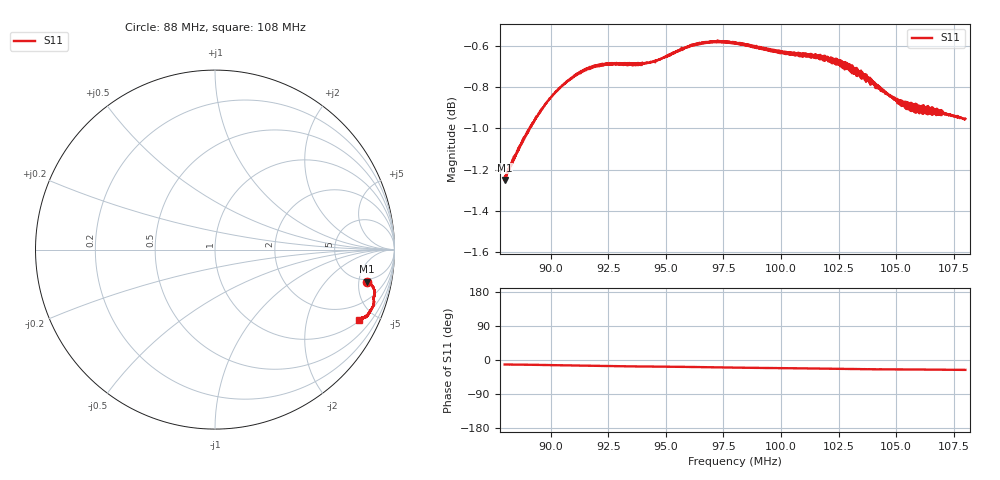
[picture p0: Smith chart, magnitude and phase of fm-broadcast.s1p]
! Calibrated averaged scanner-service zoom
# Hz S RI R 50
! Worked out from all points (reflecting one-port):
!   2001 points, 88 MHz to 108 MHz, reference 50 ohm
!   lowest |S11| = -1.3 dB at 88 MHz (marker M1), VSWR 13.91, Z = 226 - j323 ohm
!   phase of S11 starts at -12 deg and turns -14 deg over the sweep
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8.8e7  0.8472 -0.1791
8.827e7  0.8536 -0.1816
8.865e7  0.8617 -0.1867
8.929e7  0.8732 -0.1985
8.987e7  0.8806 -0.2085
9.05e7  0.8859 -0.2212
9.113e7  0.8891 -0.2323
9.156e7  0.8898 -0.2403
9.232e7  0.8879 -0.2538
9.3e7  0.8864 -0.2624
9.354e7  0.8842 -0.2681
9.418e7  0.8831 -0.2734
9.497e7  0.8841 -0.2804
9.55e7  0.8853 -0.2864
9.612e7  0.8862 -0.2953
9.665e7  0.8849 -0.3027
9.728e7  0.8826 -0.3115
9.8e7  0.8785 -0.3205
9.897e7  0.8723 -0.3311
1.005e8  0.8634 -0.3451
1.0194e8  0.855 -0.3602
1.03e8  0.843 -0.3697
1.0356e8  0.8379 -0.3765
1.0419e8  0.8299 -0.381
1.0491e8  0.8213 -0.3817
1.055e8  0.8196 -0.3812
1.064e8  0.8122 -0.384
1.08e8  0.8046 -0.3945
